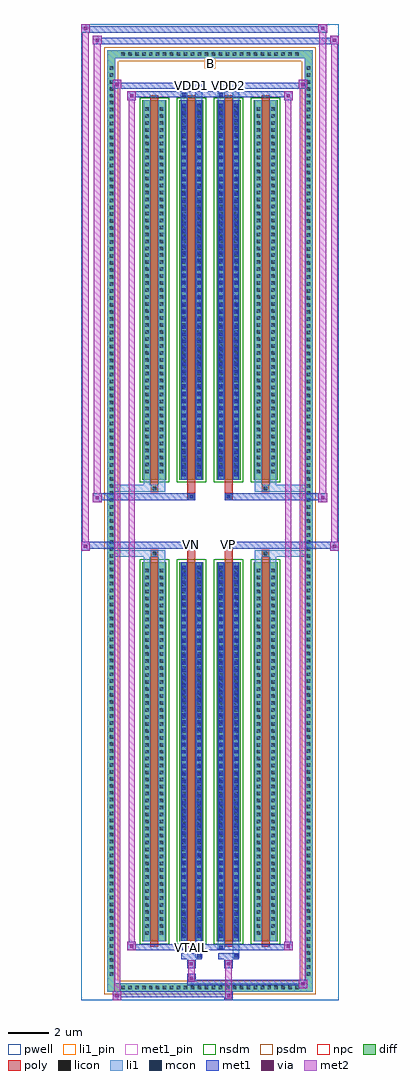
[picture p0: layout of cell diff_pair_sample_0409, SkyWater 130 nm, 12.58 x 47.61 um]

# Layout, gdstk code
import gdstk
lib = gdstk.Library(unit=1e-6, precision=5e-09)
def R(c, l, rs):  # rectangles x0, y0, x1, y1
    for r in rs: c.add(gdstk.rectangle(r[:2], r[2:], *l))
def A(c, l, x, y, w, h, nx, ny, dx, dy):  # array of equal rectangles
    R(c, l, [(x+i*dx, y+j*dy, x+i*dx+w, y+j*dy+h) for i in range(nx) for j in range(ny)])
def P(c, l, *ps):  # polygons
    for p in ps: c.add(gdstk.Polygon(p, *l))
pwell = (64, 44)
diff = (65, 20)
poly = (66, 20)
licon = (66, 44)
li1_pin = (67, 16)
li1 = (67, 20)
mcon = (67, 44)
met1_pin = (68, 16)
met1 = (68, 20)
via = (68, 44)
met2 = (69, 20)
nsdm = (93, 44)
psdm = (94, 20)
npc = (95, 20)

diff_pair_sample_0409 = lib.new_cell('diff_pair_sample_0409')
R(diff_pair_sample_0409, pwell, [(-6.29,-23.37,6.29,24.24), (-3.61,-21.56,-0.01,-0.82), (0.01,-21.56,3.61,-0.82), (-3.61,0.82,-0.01,21.56), (0.01,0.82,3.61,21.56)])
A(diff_pair_sample_0409, diff, -4.455, -22.97, 0.41, 0.41, 26, 2, 0.34, 45.53)
A(diff_pair_sample_0409, diff, -5.02, -22.305, 0.41, 0.41, 1, 131, 0, 0.34)
A(diff_pair_sample_0409, diff, 4.61, -22.305, 0.41, 0.41, 1, 131, 0, 0.34)
A(diff_pair_sample_0409, diff, -3.3, -20.515, 1.17, 18.51, 4, 2, 1.81, 22.52)
R(diff_pair_sample_0409, diff, [(-4.455,-22.97,4.455,-22.56), (-5.02,-22.305,-4.61,22.305), (4.61,-22.305,5.02,22.305), (-4.455,22.56,4.455,22.97)])
P(diff_pair_sample_0409, diff, [(5.02,22.97),(-5.02,22.97),(-5.02,-22.56),(-4.61,-22.56),(-4.61,22.56),(4.61,22.56),(4.61,-22.56),(-4.61,-22.56),(-5.02,-22.56),(-5.02,-22.97),(5.02,-22.97)])
A(diff_pair_sample_0409, poly, -2.91, -20.765, 0.39, 19.01, 4, 2, 1.81, 22.52)
R(diff_pair_sample_0409, poly, [(-2.88,-1.755,-2.55,-1.425), (-2.88,-1.755,-2.55,-1.425), (-1.1,-1.755,-0.71,-1.35), (0.71,-1.755,1.1,-1.35), (2.55,-1.755,2.88,-1.425), (2.55,-1.755,2.88,-1.425), (-1.1,-1.35,-0.71,-1.02), (-1.07,-1.35,-0.74,-1.02), (0.71,-1.35,1.1,-1.02), (0.74,-1.35,1.07,-1.02), (-1.1,1.02,-0.71,1.35), (-1.07,1.02,-0.74,1.35), (0.71,1.02,1.1,1.35), (0.74,1.02,1.07,1.35), (-1.1,1.35,-0.71,1.755), (0.71,1.35,1.1,1.755), (-2.88,1.425,-2.55,1.755), (-2.88,1.425,-2.55,1.755), (2.55,1.425,2.88,1.755), (2.55,1.425,2.88,1.755)])
A(diff_pair_sample_0409, licon, -4.335, -22.85, 0.17, 0.17, 26, 2, 0.34, 45.53)
A(diff_pair_sample_0409, licon, -4.9, -22.185, 0.17, 0.17, 1, 131, 0, 0.34)
A(diff_pair_sample_0409, licon, 4.73, -22.185, 0.17, 0.17, 1, 131, 0, 0.34)
A(diff_pair_sample_0409, licon, -3.16, -20.185, 0.17, 0.17, 1, 53, 0, 0.34)
A(diff_pair_sample_0409, licon, -2.44, -20.185, 0.17, 0.17, 1, 53, 0, 0.34)
A(diff_pair_sample_0409, licon, -1.35, -20.185, 0.17, 0.17, 1, 53, 0, 0.34)
A(diff_pair_sample_0409, licon, -0.63, -20.185, 0.17, 0.17, 1, 53, 0, 0.34)
A(diff_pair_sample_0409, licon, 0.46, -20.185, 0.17, 0.17, 1, 53, 0, 0.34)
A(diff_pair_sample_0409, licon, 1.18, -20.185, 0.17, 0.17, 1, 53, 0, 0.34)
A(diff_pair_sample_0409, licon, 2.27, -20.185, 0.17, 0.17, 1, 53, 0, 0.34)
A(diff_pair_sample_0409, licon, 2.99, -20.185, 0.17, 0.17, 1, 53, 0, 0.34)
A(diff_pair_sample_0409, licon, -3.16, 2.335, 0.17, 0.17, 1, 53, 0, 0.34)
A(diff_pair_sample_0409, licon, -2.44, 2.335, 0.17, 0.17, 1, 53, 0, 0.34)
A(diff_pair_sample_0409, licon, -1.35, 2.335, 0.17, 0.17, 1, 53, 0, 0.34)
A(diff_pair_sample_0409, licon, -0.63, 2.335, 0.17, 0.17, 1, 53, 0, 0.34)
A(diff_pair_sample_0409, licon, 0.46, 2.335, 0.17, 0.17, 1, 53, 0, 0.34)
A(diff_pair_sample_0409, licon, 1.18, 2.335, 0.17, 0.17, 1, 53, 0, 0.34)
A(diff_pair_sample_0409, licon, 2.27, 2.335, 0.17, 0.17, 1, 53, 0, 0.34)
A(diff_pair_sample_0409, licon, 2.99, 2.335, 0.17, 0.17, 1, 53, 0, 0.34)
R(diff_pair_sample_0409, licon, [(-2.8,-1.675,-2.63,-1.505), (2.63,-1.675,2.8,-1.505), (-0.99,-1.27,-0.82,-1.1), (0.82,-1.27,0.99,-1.1), (-0.99,1.1,-0.82,1.27), (0.82,1.1,0.99,1.27), (-2.8,1.505,-2.63,1.675), (2.63,1.505,2.8,1.675)])
R(diff_pair_sample_0409, li1_pin, [(-0.25,22.06,0.25,22.56)])
A(diff_pair_sample_0409, li1, -4.415, -22.93, 0.33, 0.33, 26, 2, 0.34, 45.53)
A(diff_pair_sample_0409, li1, -4.98, -22.265, 0.33, 0.33, 1, 131, 0, 0.34)
A(diff_pair_sample_0409, li1, 4.65, -22.265, 0.33, 0.33, 1, 131, 0, 0.34)
A(diff_pair_sample_0409, li1, -1.35, -20.345, 0.17, 0.17, 1, 51, 0, 0.36)
A(diff_pair_sample_0409, li1, -0.63, -20.345, 0.17, 0.17, 1, 51, 0, 0.36)
A(diff_pair_sample_0409, li1, 0.46, -20.345, 0.17, 0.17, 1, 51, 0, 0.36)
A(diff_pair_sample_0409, li1, 1.18, -20.345, 0.17, 0.17, 1, 51, 0, 0.36)
A(diff_pair_sample_0409, li1, -3.24, -20.265, 0.33, 0.33, 1, 53, 0, 0.34)
A(diff_pair_sample_0409, li1, -2.52, -20.265, 0.33, 0.33, 1, 53, 0, 0.34)
A(diff_pair_sample_0409, li1, -1.43, -20.265, 0.33, 0.33, 1, 53, 0, 0.34)
A(diff_pair_sample_0409, li1, -0.71, -20.265, 0.33, 0.33, 1, 53, 0, 0.34)
A(diff_pair_sample_0409, li1, 0.38, -20.265, 0.33, 0.33, 1, 53, 0, 0.34)
A(diff_pair_sample_0409, li1, 1.1, -20.265, 0.33, 0.33, 1, 53, 0, 0.34)
A(diff_pair_sample_0409, li1, 2.19, -20.265, 0.33, 0.33, 1, 53, 0, 0.34)
A(diff_pair_sample_0409, li1, 2.91, -20.265, 0.33, 0.33, 1, 53, 0, 0.34)
A(diff_pair_sample_0409, li1, -1.35, 2.175, 0.17, 0.17, 1, 51, 0, 0.36)
A(diff_pair_sample_0409, li1, -0.63, 2.175, 0.17, 0.17, 1, 51, 0, 0.36)
A(diff_pair_sample_0409, li1, 0.46, 2.175, 0.17, 0.17, 1, 51, 0, 0.36)
A(diff_pair_sample_0409, li1, 1.18, 2.175, 0.17, 0.17, 1, 51, 0, 0.36)
A(diff_pair_sample_0409, li1, -3.24, 2.255, 0.33, 0.33, 1, 53, 0, 0.34)
A(diff_pair_sample_0409, li1, -2.52, 2.255, 0.33, 0.33, 1, 53, 0, 0.34)
A(diff_pair_sample_0409, li1, -1.43, 2.255, 0.33, 0.33, 1, 53, 0, 0.34)
A(diff_pair_sample_0409, li1, -0.71, 2.255, 0.33, 0.33, 1, 53, 0, 0.34)
A(diff_pair_sample_0409, li1, 0.38, 2.255, 0.33, 0.33, 1, 53, 0, 0.34)
A(diff_pair_sample_0409, li1, 1.1, 2.255, 0.33, 0.33, 1, 53, 0, 0.34)
A(diff_pair_sample_0409, li1, 2.19, 2.255, 0.33, 0.33, 1, 53, 0, 0.34)
A(diff_pair_sample_0409, li1, 2.91, 2.255, 0.33, 0.33, 1, 53, 0, 0.34)
R(diff_pair_sample_0409, li1, [(-5.02,-22.97,-4.61,-22.56), (-5.02,-22.97,-4.61,-22.56), (-4.61,-22.97,4.61,-22.56), (4.61,-22.97,5.02,-22.56), (4.61,-22.97,5.02,-22.56), (-5.02,-22.56,-4.61,22.56), (4.61,-22.56,5.02,22.56), (-0.71,-21.32,-0.38,-20.515), (-0.63,-21.32,-0.46,-21.15), (1.1,-21.32,1.43,-20.515), (1.18,-21.32,1.35,-21.15), (-1.43,-20.89,-1.1,-20.515), (-1.35,-20.89,-1.18,-20.72), (0.38,-20.89,0.71,-20.515), (0.46,-20.89,0.63,-20.72), (-3.24,-20.515,-2.91,-2.005), (-2.52,-20.515,-2.19,-2.005), (-1.43,-20.515,-1.1,-2.005), (-0.71,-20.515,-0.38,-2.005), (0.38,-20.515,0.71,-2.005), (1.1,-20.515,1.43,-2.005), (2.19,-20.515,2.52,-2.005), (2.91,-20.515,3.24,-2.005), (-1.35,-20.345,-1.18,-2.175), (-0.63,-20.345,-0.46,-2.175), (0.46,-20.345,0.63,-2.175), (1.18,-20.345,1.35,-2.175), (-3.24,-2.005,-2.91,-1.425), (-2.52,-2.005,-2.19,-1.425), (2.19,-2.005,2.52,-1.425), (2.91,-2.005,3.24,-1.425), (-5.02,-1.755,-2.88,-1.425), (-3.24,-1.755,-2.88,-1.425), (-2.88,-1.755,-2.55,-1.425), (-2.55,-1.755,-2.19,-1.425), (2.19,-1.755,2.55,-1.425), (2.55,-1.755,2.88,-1.425), (2.55,-1.755,5.02,-1.425), (2.88,-1.755,3.24,-1.425), (-1.07,-1.35,-0.74,-1.02), (0.74,-1.35,1.07,-1.02), (-1.07,1.02,-0.74,1.35), (0.74,1.02,1.07,1.35), (-5.02,1.425,-2.88,1.755), (-3.24,1.425,-2.88,1.755), (-3.24,1.425,-2.91,2.005), (-2.88,1.425,-2.55,1.755), (-2.55,1.425,-2.19,1.755), (-2.52,1.425,-2.19,2.005), (2.19,1.425,2.55,1.755), (2.19,1.425,2.52,2.005), (2.55,1.425,2.88,1.755), (2.55,1.425,5.02,1.755), (2.88,1.425,3.24,1.755), (2.91,1.425,3.24,2.005), (-3.24,2.005,-2.91,20.515), (-2.52,2.005,-2.19,20.515), (-1.43,2.005,-1.1,20.515), (-0.71,2.005,-0.38,20.515), (0.38,2.005,0.71,20.515), (1.1,2.005,1.43,20.515), (2.19,2.005,2.52,20.515), (2.91,2.005,3.24,20.515), (-1.35,2.175,-1.18,20.345), (-0.63,2.175,-0.46,20.345), (0.46,2.175,0.63,20.345), (1.18,2.175,1.35,20.345), (-1.43,20.515,-1.1,20.89), (-0.71,20.515,-0.38,21.32), (0.38,20.515,0.71,20.89), (1.1,20.515,1.43,21.32), (-1.35,20.72,-1.18,20.89), (0.46,20.72,0.63,20.89), (-0.63,21.15,-0.46,21.32), (1.18,21.15,1.35,21.32), (-5.02,22.56,-4.61,22.97), (-5.02,22.56,-4.61,22.97), (-4.61,22.56,4.61,22.97), (4.61,22.56,5.02,22.97), (4.61,22.56,5.02,22.97)])
A(diff_pair_sample_0409, mcon, -1.35, -20.345, 0.17, 0.17, 1, 51, 0, 0.36)
A(diff_pair_sample_0409, mcon, -0.63, -20.345, 0.17, 0.17, 1, 51, 0, 0.36)
A(diff_pair_sample_0409, mcon, 0.46, -20.345, 0.17, 0.17, 1, 51, 0, 0.36)
A(diff_pair_sample_0409, mcon, 1.18, -20.345, 0.17, 0.17, 1, 51, 0, 0.36)
A(diff_pair_sample_0409, mcon, -1.35, 2.175, 0.17, 0.17, 1, 51, 0, 0.36)
A(diff_pair_sample_0409, mcon, -0.63, 2.175, 0.17, 0.17, 1, 51, 0, 0.36)
A(diff_pair_sample_0409, mcon, 0.46, 2.175, 0.17, 0.17, 1, 51, 0, 0.36)
A(diff_pair_sample_0409, mcon, 1.18, 2.175, 0.17, 0.17, 1, 51, 0, 0.36)
R(diff_pair_sample_0409, mcon, [(-0.63,-21.32,-0.46,-21.15), (1.18,-21.32,1.35,-21.15), (-1.35,-20.89,-1.18,-20.72), (0.46,-20.89,0.63,-20.72), (-0.99,-1.27,-0.82,-1.1), (0.82,-1.27,0.99,-1.1), (-0.99,1.1,-0.82,1.27), (0.82,1.1,0.99,1.27), (-1.35,20.72,-1.18,20.89), (0.46,20.72,0.63,20.89), (-0.63,21.15,-0.46,21.32), (1.18,21.15,1.35,21.32)])
R(diff_pair_sample_0409, met1_pin, [(-1.04,-20.93,-0.77,-20.66), (-1.04,-1.29,-0.77,-1.02), (0.77,-1.29,1.04,-1.02), (-1.04,21.11,-0.77,21.38), (0.77,21.11,1.04,21.38)])
A(diff_pair_sample_0409, met1, -1.41, -20.405, 0.29, 0.29, 1, 51, 0, 0.36)
A(diff_pair_sample_0409, met1, -0.69, -20.405, 0.29, 0.29, 1, 51, 0, 0.36)
A(diff_pair_sample_0409, met1, 0.4, -20.405, 0.29, 0.29, 1, 51, 0, 0.36)
A(diff_pair_sample_0409, met1, 1.12, -20.405, 0.29, 0.29, 1, 51, 0, 0.36)
A(diff_pair_sample_0409, met1, -1.41, 2.115, 0.29, 0.29, 1, 51, 0, 0.36)
A(diff_pair_sample_0409, met1, -0.69, 2.115, 0.29, 0.29, 1, 51, 0, 0.36)
A(diff_pair_sample_0409, met1, 0.4, 2.115, 0.29, 0.29, 1, 51, 0, 0.36)
A(diff_pair_sample_0409, met1, 1.12, 2.115, 0.29, 0.29, 1, 51, 0, 0.36)
R(diff_pair_sample_0409, met1, [(-4.75,-23.37,-4.32,-22.94), (0.69,-23.37,1.12,-22.94), (-4.75,-23.23,1.12,-22.94), (4.32,-22.8,4.75,-22.37), (-1.12,-22.66,4.75,-22.37), (-1.12,-22.52,-0.69,-22.09), (-1.12,-21.81,-0.69,-21.38), (0.69,-21.81,1.12,-21.38), (-1.41,-21.38,-0.4,-21.09), (-0.69,-21.38,-0.4,-21.09), (0.4,-21.38,1.41,-21.09), (1.12,-21.38,1.41,-21.09), (-4.04,-20.95,-3.61,-20.52), (-4.04,-20.95,-1.41,-20.66), (-1.41,-20.95,-1.12,-20.66), (-1.41,-20.95,-0.4,-20.66), (-0.4,-20.95,0.4,-20.66), (0.4,-20.95,0.69,-20.66), (0.4,-20.95,1.41,-20.66), (1.41,-20.95,4.04,-20.66), (3.61,-20.95,4.04,-20.52), (-1.41,-20.515,-1.12,-2.005), (-0.69,-20.515,-0.4,-2.005), (0.4,-20.515,0.69,-2.005), (1.12,-20.515,1.41,-2.005), (-6.29,-1.45,-5.86,-1.02), (5.86,-1.45,6.29,-1.02), (-6.29,-1.35,-0.71,-1.02), (-1.1,-1.35,-0.71,-1.02), (0.71,-1.35,1.1,-1.02), (0.71,-1.35,6.29,-1.02), (-1.05,-1.33,-0.76,-1.04), (0.76,-1.33,1.05,-1.04), (-5.72,0.92,-5.29,1.35), (5.29,0.92,5.72,1.35), (-5.72,1.02,-1.1,1.35), (-1.1,1.02,-0.71,1.35), (0.71,1.02,1.1,1.35), (1.1,1.02,5.72,1.35), (-1.05,1.04,-0.76,1.33), (0.76,1.04,1.05,1.33), (-1.41,2.005,-1.12,20.515), (-0.69,2.005,-0.4,20.515), (0.4,2.005,0.69,20.515), (1.12,2.005,1.41,20.515), (-4.04,20.52,-3.61,20.95), (3.61,20.52,4.04,20.95), (-4.04,20.66,-1.41,20.95), (-1.41,20.66,-1.12,20.95), (-1.41,20.66,-0.4,20.95), (-0.4,20.66,0.4,20.95), (0.4,20.66,0.69,20.95), (0.4,20.66,1.41,20.95), (1.41,20.66,4.04,20.95), (-4.75,21.09,-4.32,21.52), (-4.75,21.09,-1.41,21.38), (-1.41,21.09,-0.4,21.38), (-0.69,21.09,-0.4,21.38), (0.4,21.09,1.41,21.38), (1.12,21.09,1.41,21.38), (1.41,21.09,4.75,21.38), (4.32,21.09,4.75,21.52), (-5.72,23.24,-5.29,23.67), (-5.72,23.24,-3.61,23.57), (-3.61,23.24,3.61,23.57), (3.61,23.24,6.29,23.57), (5.86,23.24,6.29,23.67), (-6.29,23.81,-5.86,24.24), (-6.29,23.81,-3.61,24.14), (-3.61,23.81,3.61,24.14), (3.61,23.81,5.72,24.14), (5.29,23.81,5.72,24.24)])
R(diff_pair_sample_0409, via, [(-4.61,-23.23,-4.46,-23.08), (0.83,-23.23,0.98,-23.08), (4.46,-22.66,4.61,-22.51), (-0.98,-22.38,-0.83,-22.23), (-0.98,-21.67,-0.83,-21.52), (0.83,-21.67,0.98,-21.52), (-3.9,-20.81,-3.75,-20.66), (3.75,-20.81,3.9,-20.66), (-6.15,-1.31,-6,-1.16), (6,-1.31,6.15,-1.16), (-5.58,1.06,-5.43,1.21), (5.43,1.06,5.58,1.21), (-3.9,20.66,-3.75,20.81), (3.75,20.66,3.9,20.81), (-4.61,21.23,-4.46,21.38), (4.46,21.23,4.61,21.38), (-5.58,23.38,-5.43,23.53), (6,23.38,6.15,23.53), (-6.15,23.95,-6,24.1), (5.43,23.95,5.58,24.1)])
R(diff_pair_sample_0409, met2, [(-4.75,-23.37,-4.32,-22.94), (-4.68,-23.37,-4.39,21.52), (-4.39,-23.37,-4.32,-22.94), (-4.7,-23.32,-4.37,-22.99), (0.74,-23.32,1.07,-22.99), (0.74,-22.99,1.07,-21.76), (4.32,-22.8,4.75,-22.37), (4.39,-22.8,4.68,21.52), (4.68,-22.8,4.75,-22.37), (4.37,-22.75,4.7,-22.42), (-1.07,-22.47,-0.74,-22.14), (-1.07,-22.14,-0.74,-21.76), (-1.07,-21.76,-0.74,-21.43), (0.74,-21.76,1.07,-21.43), (-4.04,-20.95,-3.61,-20.52), (-3.97,-20.95,-3.68,20.95), (-3.68,-20.95,-3.61,-20.52), (3.61,-20.95,4.04,-20.52), (3.68,-20.95,3.97,20.95), (3.97,-20.95,4.04,-20.52), (-3.99,-20.9,-3.66,-20.57), (3.66,-20.9,3.99,-20.57), (-6.29,-1.45,-5.86,-1.02), (-6.24,-1.45,-5.91,24.24), (-5.91,-1.45,-5.86,-1.02), (5.86,-1.45,6.29,-1.02), (5.91,-1.45,6.24,23.67), (6.24,-1.45,6.29,-1.02), (-6.24,-1.4,-5.91,-1.07), (5.91,-1.4,6.24,-1.07), (-5.72,0.92,-5.29,1.35), (-5.67,0.92,-5.34,23.67), (-5.34,0.92,-5.29,1.35), (5.29,0.92,5.72,1.35), (5.34,0.92,5.67,24.24), (5.67,0.92,5.72,1.35), (-5.67,0.97,-5.34,1.3), (5.34,0.97,5.67,1.3), (-4.04,20.52,-3.61,20.95), (-3.68,20.52,-3.61,20.95), (3.61,20.52,4.04,20.95), (3.97,20.52,4.04,20.95), (-3.99,20.57,-3.66,20.9), (3.66,20.57,3.99,20.9), (-4.75,21.09,-4.32,21.52), (-4.39,21.09,-4.32,21.52), (4.32,21.09,4.75,21.52), (4.68,21.09,4.75,21.52), (-4.7,21.14,-4.37,21.47), (4.37,21.14,4.7,21.47), (-5.72,23.24,-5.29,23.67), (-5.34,23.24,-5.29,23.67), (5.86,23.24,6.29,23.67), (6.24,23.24,6.29,23.67), (-5.67,23.29,-5.34,23.62), (5.91,23.29,6.24,23.62), (-6.29,23.81,-5.86,24.24), (-5.91,23.81,-5.86,24.24), (5.29,23.81,5.72,24.24), (5.67,23.81,5.72,24.24), (-6.24,23.86,-5.91,24.19), (5.34,23.86,5.67,24.19)])
A(diff_pair_sample_0409, nsdm, -3.43, -20.645, 1.43, 18.77, 4, 2, 1.81, 22.52)
P(diff_pair_sample_0409, psdm, [(5.15,23.1),(-5.15,23.1),(-5.15,-22.43),(-4.48,-22.43),(-4.48,22.43),(4.48,22.43),(4.48,-22.43),(-4.48,-22.43),(-5.15,-22.43),(-5.15,-23.1),(5.15,-23.1)])
R(diff_pair_sample_0409, npc, [(-2.9,-1.775,-2.53,-1.405), (2.53,-1.775,2.9,-1.405), (-1.09,-1.37,-0.72,-1), (0.72,-1.37,1.09,-1), (-1.09,1,-0.72,1.37), (0.72,1,1.09,1.37), (-2.9,1.405,-2.53,1.775), (2.53,1.405,2.9,1.775)])
diff_pair_sample_0409.add(gdstk.Label('VTAIL', (-0.905,-20.795), layer=68, texttype=5))
diff_pair_sample_0409.add(gdstk.Label('VN', (-0.905,-1.155), layer=68, texttype=5))
diff_pair_sample_0409.add(gdstk.Label('VP', (0.905,-1.155), layer=68, texttype=5))
diff_pair_sample_0409.add(gdstk.Label('B', (0,22.31), layer=67, texttype=5))
diff_pair_sample_0409.add(gdstk.Label('VDD2', (0.905,21.245), layer=68, texttype=5))
diff_pair_sample_0409.add(gdstk.Label('VDD1', (-0.905,21.245), layer=68, texttype=5))

lib.write_gds('diff_pair_sample_0409.gds')
